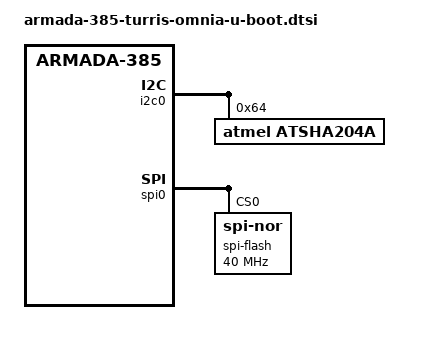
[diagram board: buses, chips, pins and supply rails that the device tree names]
// SPDX-License-Identifier: GPL-2.0+
/*
 * Copyright (C) 2017 Marek Behun <marek.behun@nic.cz>
 */

/ {
	aliases {
		i2c0 = &i2c0;
		i2c1 = &i2cmux;
		spi0 = &spi0;
	};
};

&i2c0 {
	u-boot,dm-pre-reloc;

	i2cmux: i2cmux@70 {
		u-boot,dm-pre-reloc;

		i2c@0 {
			u-boot,dm-pre-reloc;
		};

		i2c@1 {
			u-boot,dm-pre-reloc;
		};

		i2c@5 {
			u-boot,dm-pre-reloc;

			/* ATSHA204A at address 0x64 */
			atsha204a@64 {
				u-boot,dm-pre-reloc;
				compatible = "atmel,atsha204a";
				reg = <0x64>;
			};
		};
	};
};

&spi0 {
	u-boot,dm-pre-reloc;

	spi-flash@0 {
		compatible = "jedec,spi-nor";
		reg = <0>;
		spi-max-frequency = <40000000>;
		u-boot,dm-pre-reloc;
	};
};

&uart0 {
	u-boot,dm-pre-reloc;
};
